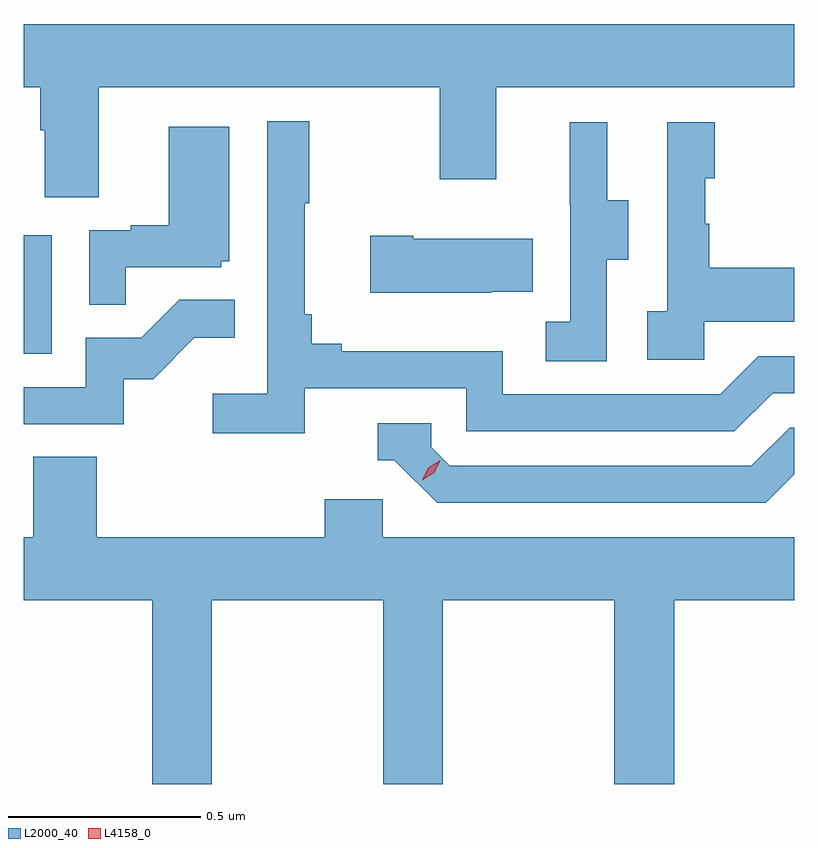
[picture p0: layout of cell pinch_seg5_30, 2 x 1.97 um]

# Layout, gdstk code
import gdstk
lib = gdstk.Library(unit=1e-6, precision=1e-09)
def R(c, l, rs):  # rectangles x0, y0, x1, y1
    for r in rs: c.add(gdstk.rectangle(r[:2], r[2:], *l))
def P(c, l, *ps):  # polygons
    for p in ps: c.add(gdstk.Polygon(p, *l))
L2000_40 = (2000, 40)
L4158_0 = (4158, 0)

pinch_seg5_30 = lib.new_cell('pinch_seg5_30')
R(pinch_seg5_30, L2000_40, [(1090.93,896.028,1091.002,896.335)])
P(pinch_seg5_30, L2000_40, [(1091.125,896.72),(1092.01,896.72),(1092.01,896.481),(1092.157,896.481),(1092.157,896.72),(1092.93,896.72),(1092.93,896.884),(1090.93,896.884),(1090.93,896.72),(1090.973,896.72),(1090.973,896.608),(1090.985,896.608),(1090.985,896.434),(1091.125,896.434)],
  [(1091.66,895.938),(1092.078,895.938),(1092.078,895.827),(1092.775,895.827),(1092.874,895.926),(1092.93,895.926),(1092.93,896.022),(1092.837,896.022),(1092.738,895.923),(1092.174,895.923),(1092.174,896.035),(1091.755,896.035),(1091.755,896.054),(1091.678,896.054),(1091.678,896.131),(1091.659,896.131),(1091.659,896.419),(1091.671,896.419),(1091.671,896.632),(1091.562,896.632),(1091.562,895.924),(1091.421,895.924),(1091.421,895.822),(1091.66,895.822)],
  [(1092.696,896.111),(1092.93,896.111),(1092.93,896.251),(1092.709,896.251),(1092.709,896.366),(1092.699,896.366),(1092.699,896.484),(1092.724,896.484),(1092.724,896.629),(1092.6,896.629),(1092.6,896.138),(1092.549,896.138),(1092.549,896.013),(1092.696,896.013)],
  [(1092.444,896.272),(1092.499,896.272),(1092.499,896.427),(1092.445,896.427),(1092.445,896.629),(1092.347,896.629),(1092.347,896.415),(1092.348,896.415),(1092.348,896.111),(1092.285,896.111),(1092.285,896.008),(1092.444,896.008)],
  [(1091.195,896.253),(1091.442,896.253),(1091.442,896.268),(1091.464,896.268),(1091.464,896.617),(1091.306,896.617),(1091.306,896.362),(1091.207,896.362),(1091.207,896.349),(1091.1,896.349),(1091.1,896.155),(1091.195,896.155)],
  [(1092.143,896.189),(1092.251,896.189),(1092.251,896.326),(1091.941,896.326),(1091.941,896.334),(1091.829,896.334),(1091.829,896.186),(1092.143,896.186)],
  [(1091.19,895.962),(1091.266,895.962),(1091.373,896.069),(1091.477,896.069),(1091.477,896.168),(1091.333,896.168),(1091.235,896.07),(1091.091,896.07),(1091.091,895.941),(1090.93,895.941),(1090.93,895.845),(1091.19,895.845)],
  [(1092.93,895.715),(1092.93,895.836),(1092.918,895.836),(1092.819,895.737),(1092.036,895.737),(1091.988,895.785),(1091.988,895.848),(1091.849,895.848),(1091.849,895.752),(1091.892,895.752),(1092.003,895.641),(1092.856,895.641)],
  [(1091.418,895.388),(1091.863,895.388),(1091.863,894.911),(1092.018,894.911),(1092.018,895.388),(1092.463,895.388),(1092.463,894.911),(1092.618,894.911),(1092.618,895.388),(1092.93,895.388),(1092.93,895.552),(1091.862,895.552),(1091.862,895.65),(1091.711,895.65),(1091.711,895.552),(1091.12,895.552),(1091.12,895.76),(1090.955,895.76),(1090.955,895.552),(1090.93,895.552),(1090.93,895.388),(1091.263,895.388),(1091.263,894.911),(1091.418,894.911)])
P(pinch_seg5_30, L4158_0, [(1091.964,895.7),(1091.964,895.7),(1091.98,895.732),(1092.011,895.751),(1092.011,895.751),(1092.011,895.751),(1091.995,895.719),(1091.964,895.7)])

lib.write_gds('pinch_seg5_30.gds')
